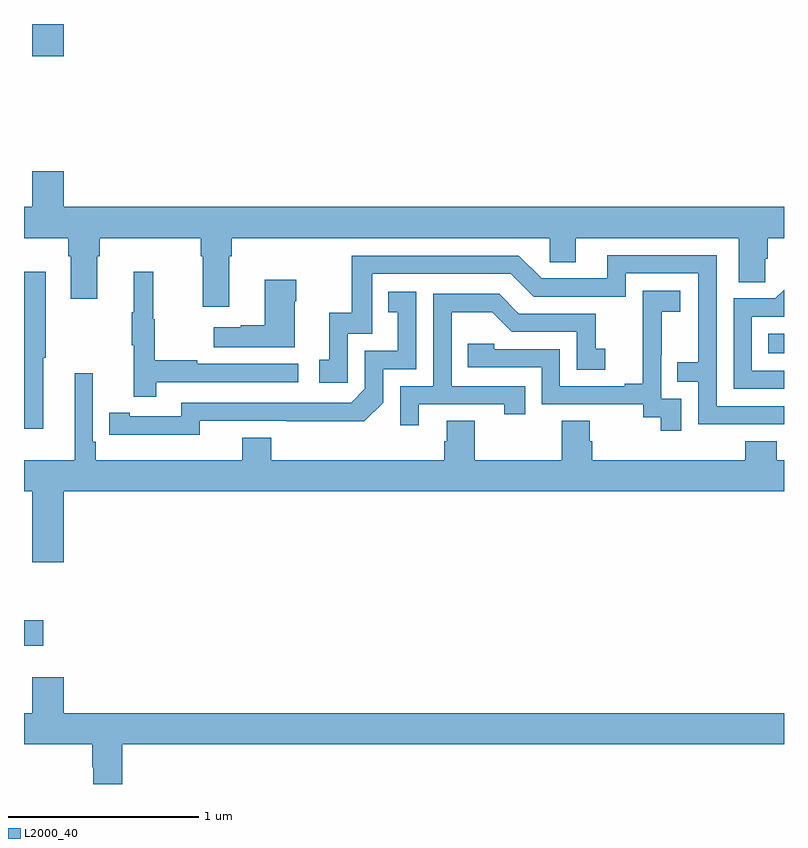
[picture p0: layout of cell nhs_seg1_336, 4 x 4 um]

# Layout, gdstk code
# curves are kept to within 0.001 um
import gdstk
lib = gdstk.Library(unit=1e-6, precision=1e-09)
def R(c, l, rs):  # rectangles x0, y0, x1, y1
    for r in rs: c.add(gdstk.rectangle(r[:2], r[2:], *l))
def P(c, l, *ps):  # polygons
    for p in ps: c.add(gdstk.Polygon(p, *l))
L2000_40 = (2000, 40)

nhs_seg1_336 = lib.new_cell('nhs_seg1_336')
R(nhs_seg1_336, L2000_40, [(129,542.927,129.102,543.062), (132.916,544.466,133,544.57), (129.044,546.03,129.208,546.199)])
P(nhs_seg1_336, L2000_40, [(130.081,544.976),(130.094,544.976),(130.094,545.072),(131.766,545.072),(131.766,544.945),(131.905,544.945),(131.905,545.072),(132.761,545.072),(132.761,544.84),(132.9,544.84),(132.9,544.963),(132.914,544.963),(132.914,545.072),(133,545.072),(133,545.236),(129.208,545.236),(129.208,545.425),(129.044,545.425),(129.044,545.236),(129,545.236),(129,545.072),(129.233,545.072),(129.233,544.976),(129.245,544.976),(129.245,544.752),(129.385,544.752),(129.385,544.976),(129.398,544.976),(129.398,545.072),(129.929,545.072),(129.929,544.976),(129.941,544.976),(129.941,544.71),(130.081,544.71)],
  [(133,544.188),(132.645,544.188),(132.645,544.983),(132.071,544.983),(132.071,544.86),(131.724,544.86),(131.604,544.98),(130.725,544.98),(130.725,544.678),(130.607,544.678),(130.607,544.431),(130.554,544.431),(130.554,544.311),(130.704,544.311),(130.704,544.569),(130.833,544.569),(130.833,544.884),(131.562,544.884),(131.682,544.764),(132.168,544.764),(132.168,544.887),(132.549,544.887),(132.549,544.418),(132.439,544.418),(132.439,544.317),(132.549,544.317),(132.549,544.092),(133,544.092)],
  [(129.695,544.314),(130.444,544.314),(130.444,544.41),(129.911,544.41),(129.911,544.43),(129.688,544.43),(129.688,544.644),(129.68,544.644),(129.68,544.894),(129.578,544.894),(129.578,544.681),(129.567,544.681),(129.567,544.507),(129.578,544.507),(129.578,544.236),(129.695,544.236)],
  [(129.1,544.442),(129.115,544.442),(129.115,544.894),(129,544.894),(129,544.068),(129.1,544.068)],
  [(130.426,544.739),(130.434,544.739),(130.434,544.852),(130.268,544.852),(130.268,544.613),(130.142,544.613),(130.142,544.603),(129.999,544.603),(129.999,544.499),(130.426,544.499)],
  [(133,544.374),(132.831,544.374),(132.831,544.659),(133,544.659),(133,544.801),(132.954,544.755),(132.735,544.755),(132.735,544.278),(133,544.278)],
  [(132.459,544.227),(132.354,544.227),(132.354,544.457),(132.356,544.457),(132.356,544.685),(132.454,544.685),(132.454,544.795),(132.256,544.795),(132.256,544.589),(132.257,544.589),(132.257,544.306),(132.161,544.306),(132.161,544.293),(131.82,544.293),(131.82,544.488),(131.475,544.488),(131.475,544.515),(131.335,544.515),(131.335,544.392),(131.724,544.392),(131.724,544.197),(132.258,544.197),(132.258,544.129),(132.351,544.129),(132.351,544.059),(132.459,544.059)],
  [(129.924,544.11),(130.792,544.109),(130.89,544.206),(130.89,544.383),(131.064,544.383),(131.064,544.789),(130.918,544.789),(130.918,544.683),(130.967,544.683),(130.967,544.479),(130.794,544.479),(130.794,544.278),(130.722,544.206),(129.828,544.206),(129.828,544.134),(129.556,544.134),(129.556,544.154),(129.448,544.154),(129.448,544.038),(129.924,544.037)],
  [(131.077,544.197),(131.528,544.197),(131.528,544.146),(131.639,544.146),(131.639,544.293),(131.25,544.293),(131.25,544.682),(131.464,544.682),(131.568,544.578),(131.91,544.578),(131.91,544.38),(132.058,544.38),(132.058,544.489),(132.009,544.489),(132.009,544.674),(131.605,544.674),(131.5,544.779),(131.154,544.779),(131.154,544.293),(130.98,544.293),(130.98,544.086),(131.077,544.086)],
  [(129.208,543.74),(133,543.74),(133,543.904),(132.962,543.904),(132.962,544.003),(132.797,544.003),(132.797,543.904),(131.99,543.904),(131.99,544.002),(131.977,544.002),(131.977,544.112),(131.83,544.112),(131.83,543.904),(131.373,543.904),(131.373,544.112),(131.225,544.112),(131.225,544.002),(131.213,544.002),(131.213,543.904),(130.301,543.904),(130.301,544.021),(130.148,544.021),(130.148,543.904),(129.377,543.904),(129.377,544),(129.363,544),(129.363,544.36),(129.266,544.36),(129.266,543.904),(129,543.904),(129,543.74),(129.044,543.74),(129.044,543.366),(129.208,543.366)],
  [(129.518,542.408),(133,542.408),(133,542.572),(129.208,542.572),(129.208,542.761),(129.044,542.761),(129.044,542.572),(129,542.572),(129,542.408),(129.358,542.408),(129.358,542.288),(129.365,542.288),(129.365,542.199),(129.518,542.199)])

lib.write_gds('nhs_seg1_336.gds')
